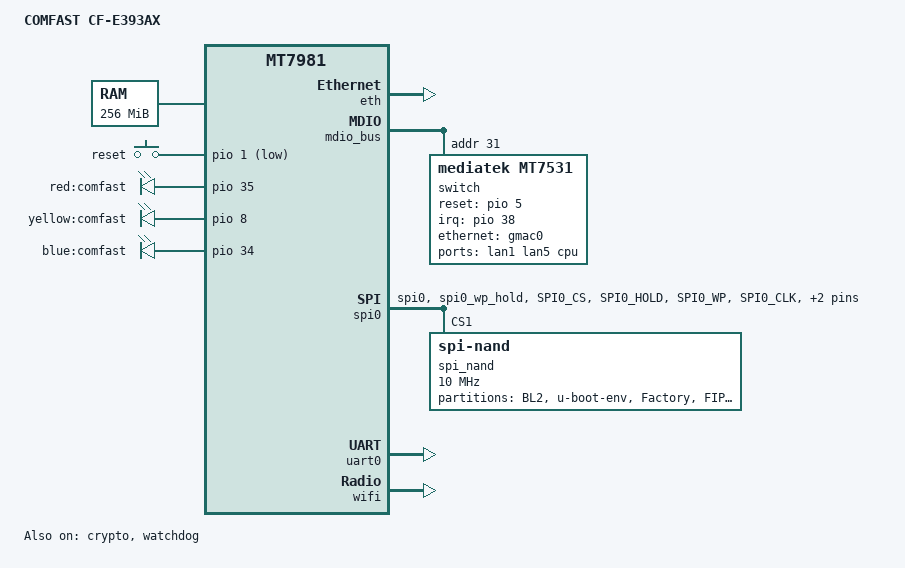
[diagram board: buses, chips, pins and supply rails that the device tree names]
// SPDX-License-Identifier: GPL-2.0-or-later OR MIT

/dts-v1/;
#include "mt7981.dtsi"

/ {
	model = "COMFAST CF-E393AX";
	compatible = "comfast,cf-e393ax", "mediatek,mt7981";

	aliases {
		serial0 = &uart0;
		led-boot = &led_red;
		led-failsafe = &led_red;
		led-running = &led_blue;
		led-upgrade = &led_yellow;
	};

	chosen {
		bootargs-override = "console=ttyS0,115200n8";
		stdout-path = "serial0:115200n8";
	};

	memory {
		reg = <0 0x40000000 0 0x10000000>; // 256mb
	};

	gpio-keys {
		compatible = "gpio-keys";

		reset {
			label = "reset";
			linux,code = <KEY_RESTART>;
			gpios = <&pio 1 GPIO_ACTIVE_LOW>;
		};
	};

	leds {
		compatible = "gpio-leds";

		led_red: comfast-red {
			label = "red:comfast";
			gpios = <&pio 35 GPIO_ACTIVE_HIGH>;
		};

		led_yellow: comfast-yellow {
			label = "yellow:comfast";
			gpios = <&pio 8 GPIO_ACTIVE_HIGH>;
		};

		led_blue: comfast-blue {
			label = "blue:comfast";
			gpios = <&pio 34 GPIO_ACTIVE_HIGH>;
		};
	};
};

&eth {
	status = "okay";

	gmac0: mac@0 {
	    /* LAN */
		compatible = "mediatek,eth-mac";
		reg = <0>;
		phy-mode = "2500base-x";

		nvmem-cells = <&macaddr_factory_e000>;
		nvmem-cell-names = "mac-address";

		fixed-link {
			speed = <2500>;
			full-duplex;
			pause;
		};
	};

	gmac1: mac@1 {
	    /* WAN */
		compatible = "mediatek,eth-mac";
		reg = <1>;
		phy-mode = "gmii";
		phy-handle = <&int_gbe_phy>;
	};
};

&mdio_bus {
	switch: switch@1f {
		compatible = "mediatek,mt7531";
		reg = <31>;
		interrupt-controller;
		#interrupt-cells = <1>;
		interrupt-parent = <&pio>;
		interrupts = <38 IRQ_TYPE_LEVEL_HIGH>;
		reset-gpios = <&pio 5 GPIO_ACTIVE_HIGH>;
	};
};

&crypto {
	status = "okay";
};

&pio {
	spi0_flash_pins: spi0-pins {
		mux {
			function = "spi";
			groups = "spi0", "spi0_wp_hold";
		};
		conf-pu {
			pins = "SPI0_CS", "SPI0_HOLD", "SPI0_WP";
			drive-strength = <MTK_DRIVE_8mA>;
			bias-pull-up = <MTK_PUPD_SET_R1R0_11>;
		};
		conf-pd {
			pins = "SPI0_CLK", "SPI0_MOSI", "SPI0_MISO";
			drive-strength = <MTK_DRIVE_8mA>;
			bias-pull-down = <MTK_PUPD_SET_R1R0_11>;
		};
	};

};

&spi0 {
	pinctrl-names = "default";
	pinctrl-0 = <&spi0_flash_pins>;
	cs-gpios = <0>, <0>;
	#address-cells = <1>;
	#size-cells = <0>;
	status = "okay";
	#address-cells = <1>;
	#size-cells = <0>;

	spi_nand: spi_nand@0 {
		#address-cells = <1>;
		#size-cells = <1>;
		compatible = "spi-nand";
		reg = <1>;
		spi-max-frequency = <10000000>;
		spi-tx-bus-width = <4>;
		spi-rx-bus-width = <4>;

		partitions {
			compatible = "fixed-partitions";
			#address-cells = <1>;
			#size-cells = <1>;

			partition@0 {
				label = "BL2";
				reg = <0x00000 0x0100000>;
				read-only;
			};

			partition@100000 {
				label = "u-boot-env";
				reg = <0x0100000 0x0080000>;
				read-only;
			};

			factory: partition@180000 {
				label = "Factory";
				reg = <0x180000 0x0200000>;
				read-only;
			};

			partition@380000 {
				label = "FIP";
				reg = <0x380000 0x0200000>;
				read-only;
			};

			partition@580000 {
				label = "ubi";
				reg = <0x580000 0x4000000>;
			};
		};
	};
};

&switch {
	ports {
		#address-cells = <1>;
		#size-cells = <0>;

		port@0 {
			reg = <0>;
			label = "lan1";
		};

		sw_p5: port@5 {
			reg = <5>;
			label = "lan5";
			status = "disabled";
		};

		port@6 {
			reg = <6>;
			label = "cpu";
			ethernet = <&gmac0>;
			phy-mode = "2500base-x";

			fixed-link {
				speed = <2500>;
				full-duplex;
				pause;
			};
		};
	};
};

&uart0 {
	status = "okay";
};

&watchdog {
	status = "okay";
};

&wifi {
	status = "okay";
};

&factory {
	compatible = "nvmem-cells";
	#address-cells = <1>;
	#size-cells = <1>;

	macaddr_factory_e000: macaddr@e000 {
		reg = <0xe000 0x6>;
	};
};
